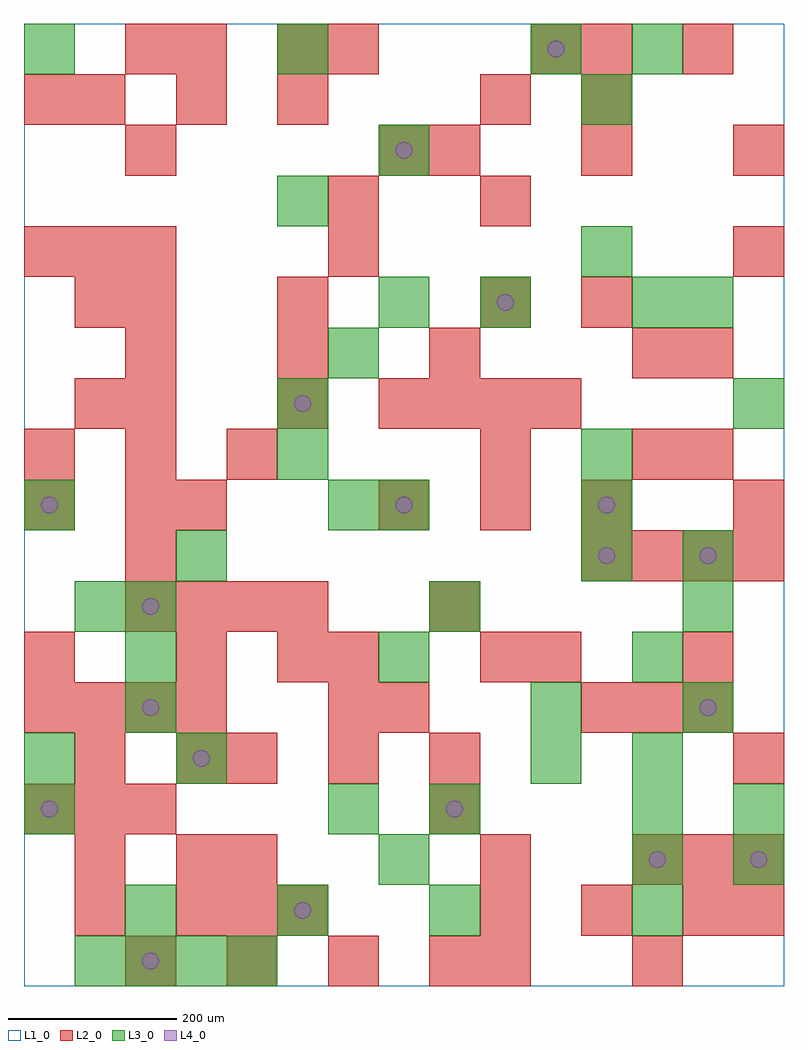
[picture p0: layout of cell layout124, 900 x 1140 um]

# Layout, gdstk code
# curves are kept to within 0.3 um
import gdstk
lib = gdstk.Library(unit=1e-6, precision=1e-09)
def R(c, l, rs):  # rectangles x0, y0, x1, y1
    for r in rs: c.add(gdstk.rectangle(r[:2], r[2:], *l))
def A(c, l, x, y, w, h, nx, ny, dx, dy):  # array of equal rectangles
    R(c, l, [(x+i*dx, y+j*dy, x+i*dx+w, y+j*dy+h) for i in range(nx) for j in range(ny)])
def P(c, l, *ps):  # polygons
    for p in ps: c.add(gdstk.Polygon(p, *l))
L1_0 = (1, 0)
L2_0 = (2, 0)
L3_0 = (3, 0)
L4_0 = (4, 0)

layout124 = lib.new_cell('layout124')
R(layout124, L1_0, [(0,0,900,1140)])
A(layout124, L2_0, 120, 0, 60, 60, 4, 1, 120, 0)
A(layout124, L2_0, 180, 60, 60, 60, 3, 1, 60, 0)
A(layout124, L2_0, 540, 60, 60, 60, 3, 1, 120, 0)
A(layout124, L2_0, 180, 120, 60, 60, 1, 3, 0, 120)
A(layout124, L2_0, 540, 120, 60, 60, 1, 3, 0, 240)
A(layout124, L2_0, 720, 120, 60, 60, 3, 1, 60, 0)
A(layout124, L2_0, 0, 180, 60, 60, 3, 2, 60, 660)
A(layout124, L2_0, 240, 240, 60, 60, 3, 1, 120, 0)
A(layout124, L2_0, 840, 240, 60, 60, 1, 3, 0, 300)
A(layout124, L2_0, 0, 300, 60, 60, 4, 1, 60, 0)
A(layout124, L2_0, 660, 300, 60, 60, 3, 1, 60, 0)
A(layout124, L2_0, 120, 420, 60, 60, 4, 1, 60, 0)
A(layout124, L2_0, 660, 480, 60, 60, 4, 1, 60, 0)
A(layout124, L2_0, 120, 540, 60, 60, 1, 3, 0, 120)
A(layout124, L2_0, 420, 540, 60, 60, 3, 1, 120, 0)
A(layout124, L2_0, 0, 600, 60, 60, 3, 1, 120, 0)
A(layout124, L2_0, 420, 660, 60, 60, 4, 1, 60, 0)
A(layout124, L2_0, 120, 720, 60, 60, 3, 1, 180, 0)
A(layout124, L2_0, 540, 780, 60, 60, 1, 3, 0, 120)
A(layout124, L2_0, 480, 960, 60, 60, 3, 1, 180, 0)
A(layout124, L2_0, 60, 1020, 60, 60, 3, 1, 120, 0)
R(layout124, L2_0, [(540,0,600,60), (720,0,780,60), (60,60,120,120), (840,60,900,120), (60,120,120,180), (240,120,300,180), (480,180,540,240), (60,240,120,300), (360,300,420,360), (420,300,480,360), (0,360,60,420), (300,360,360,420), (360,360,420,420), (600,360,660,420), (780,360,840,420), (480,420,540,480), (120,480,180,540), (0,540,60,600), (180,540,240,600), (720,600,780,660), (780,600,840,660), (60,660,120,720), (300,660,360,720), (720,720,780,780), (780,720,840,780), (60,780,120,840), (300,780,360,840), (660,780,720,840), (360,840,420,900), (360,900,420,960), (120,960,180,1020), (420,960,480,1020), (0,1020,60,1080), (660,1020,720,1080), (120,1080,180,1140), (180,1080,240,1140), (300,1080,360,1140), (360,1080,420,1140), (600,1080,660,1140), (660,1080,720,1140), (780,1080,840,1140)])
A(layout124, L3_0, 60, 0, 60, 60, 4, 1, 60, 0)
A(layout124, L3_0, 120, 60, 60, 60, 3, 1, 180, 0)
A(layout124, L3_0, 720, 60, 60, 60, 1, 4, 0, 60)
A(layout124, L3_0, 120, 360, 60, 60, 3, 1, 300, 0)
A(layout124, L3_0, 660, 480, 60, 60, 1, 3, 0, 60)
A(layout124, L3_0, 0, 1080, 60, 60, 3, 1, 300, 0)
R(layout124, L3_0, [(420,120,480,180), (840,120,900,180), (0,180,60,240), (360,180,420,240), (480,180,540,240), (840,180,900,240), (0,240,60,300), (180,240,240,300), (600,240,660,300), (120,300,180,360), (600,300,660,360), (780,300,840,360), (60,420,120,480), (120,420,180,480), (480,420,540,480), (780,420,840,480), (180,480,240,540), (780,480,840,540), (0,540,60,600), (360,540,420,600), (420,540,480,600), (300,600,360,660), (300,660,360,720), (840,660,900,720), (360,720,420,780), (420,780,480,840), (540,780,600,840), (720,780,780,840), (780,780,840,840), (660,840,720,900), (300,900,360,960), (420,960,480,1020), (660,1020,720,1080), (720,1080,780,1140)])
P(layout124, L4_0, [(40,210),(39.239,213.827),(37.071,217.071),(33.827,219.239),(30,220),(26.173,219.239),(22.929,217.071),(20.761,213.827),(20,210),(20.761,206.173),(22.929,202.929),(26.173,200.761),(30,200),(33.827,200.761),(37.071,202.929),(39.239,206.173)],
  [(40,570),(39.239,573.827),(37.071,577.071),(33.827,579.239),(30,580),(26.173,579.239),(22.929,577.071),(20.761,573.827),(20,570),(20.761,566.173),(22.929,562.929),(26.173,560.761),(30,560),(33.827,560.761),(37.071,562.929),(39.239,566.173)],
  [(160,30),(159.239,33.827),(157.071,37.071),(153.827,39.239),(150,40),(146.173,39.239),(142.929,37.071),(140.761,33.827),(140,30),(140.761,26.173),(142.929,22.929),(146.173,20.761),(150,20),(153.827,20.761),(157.071,22.929),(159.239,26.173)],
  [(160,330),(159.239,333.827),(157.071,337.071),(153.827,339.239),(150,340),(146.173,339.239),(142.929,337.071),(140.761,333.827),(140,330),(140.761,326.173),(142.929,322.929),(146.173,320.761),(150,320),(153.827,320.761),(157.071,322.929),(159.239,326.173)],
  [(160,450),(159.239,453.827),(157.071,457.071),(153.827,459.239),(150,460),(146.173,459.239),(142.929,457.071),(140.761,453.827),(140,450),(140.761,446.173),(142.929,442.929),(146.173,440.761),(150,440),(153.827,440.761),(157.071,442.929),(159.239,446.173)],
  [(220,270),(219.239,273.827),(217.071,277.071),(213.827,279.239),(210,280),(206.173,279.239),(202.929,277.071),(200.761,273.827),(200,270),(200.761,266.173),(202.929,262.929),(206.173,260.761),(210,260),(213.827,260.761),(217.071,262.929),(219.239,266.173)],
  [(340,90),(339.239,93.827),(337.071,97.071),(333.827,99.239),(330,100),(326.173,99.239),(322.929,97.071),(320.761,93.827),(320,90),(320.761,86.173),(322.929,82.929),(326.173,80.761),(330,80),(333.827,80.761),(337.071,82.929),(339.239,86.173)],
  [(340,690),(339.239,693.827),(337.071,697.071),(333.827,699.239),(330,700),(326.173,699.239),(322.929,697.071),(320.761,693.827),(320,690),(320.761,686.173),(322.929,682.929),(326.173,680.761),(330,680),(333.827,680.761),(337.071,682.929),(339.239,686.173)],
  [(460,570),(459.239,573.827),(457.071,577.071),(453.827,579.239),(450,580),(446.173,579.239),(442.929,577.071),(440.761,573.827),(440,570),(440.761,566.173),(442.929,562.929),(446.173,560.761),(450,560),(453.827,560.761),(457.071,562.929),(459.239,566.173)],
  [(460,990),(459.239,993.827),(457.071,997.071),(453.827,999.239),(450,1000),(446.173,999.239),(442.929,997.071),(440.761,993.827),(440,990),(440.761,986.173),(442.929,982.929),(446.173,980.761),(450,980),(453.827,980.761),(457.071,982.929),(459.239,986.173)],
  [(520,210),(519.239,213.827),(517.071,217.071),(513.827,219.239),(510,220),(506.173,219.239),(502.929,217.071),(500.761,213.827),(500,210),(500.761,206.173),(502.929,202.929),(506.173,200.761),(510,200),(513.827,200.761),(517.071,202.929),(519.239,206.173)],
  [(580,810),(579.239,813.827),(577.071,817.071),(573.827,819.239),(570,820),(566.173,819.239),(562.929,817.071),(560.761,813.827),(560,810),(560.761,806.173),(562.929,802.929),(566.173,800.761),(570,800),(573.827,800.761),(577.071,802.929),(579.239,806.173)],
  [(640,1110),(639.239,1113.827),(637.071,1117.071),(633.827,1119.239),(630,1120),(626.173,1119.239),(622.929,1117.071),(620.761,1113.827),(620,1110),(620.761,1106.173),(622.929,1102.929),(626.173,1100.761),(630,1100),(633.827,1100.761),(637.071,1102.929),(639.239,1106.173)],
  [(700,510),(699.239,513.827),(697.071,517.071),(693.827,519.239),(690,520),(686.173,519.239),(682.929,517.071),(680.761,513.827),(680,510),(680.761,506.173),(682.929,502.929),(686.173,500.761),(690,500),(693.827,500.761),(697.071,502.929),(699.239,506.173)],
  [(700,570),(699.239,573.827),(697.071,577.071),(693.827,579.239),(690,580),(686.173,579.239),(682.929,577.071),(680.761,573.827),(680,570),(680.761,566.173),(682.929,562.929),(686.173,560.761),(690,560),(693.827,560.761),(697.071,562.929),(699.239,566.173)],
  [(760,150),(759.239,153.827),(757.071,157.071),(753.827,159.239),(750,160),(746.173,159.239),(742.929,157.071),(740.761,153.827),(740,150),(740.761,146.173),(742.929,142.929),(746.173,140.761),(750,140),(753.827,140.761),(757.071,142.929),(759.239,146.173)],
  [(820,330),(819.239,333.827),(817.071,337.071),(813.827,339.239),(810,340),(806.173,339.239),(802.929,337.071),(800.761,333.827),(800,330),(800.761,326.173),(802.929,322.929),(806.173,320.761),(810,320),(813.827,320.761),(817.071,322.929),(819.239,326.173)],
  [(820,510),(819.239,513.827),(817.071,517.071),(813.827,519.239),(810,520),(806.173,519.239),(802.929,517.071),(800.761,513.827),(800,510),(800.761,506.173),(802.929,502.929),(806.173,500.761),(810,500),(813.827,500.761),(817.071,502.929),(819.239,506.173)],
  [(880,150),(879.239,153.827),(877.071,157.071),(873.827,159.239),(870,160),(866.173,159.239),(862.929,157.071),(860.761,153.827),(860,150),(860.761,146.173),(862.929,142.929),(866.173,140.761),(870,140),(873.827,140.761),(877.071,142.929),(879.239,146.173)])

lib.write_gds('layout124.gds')
